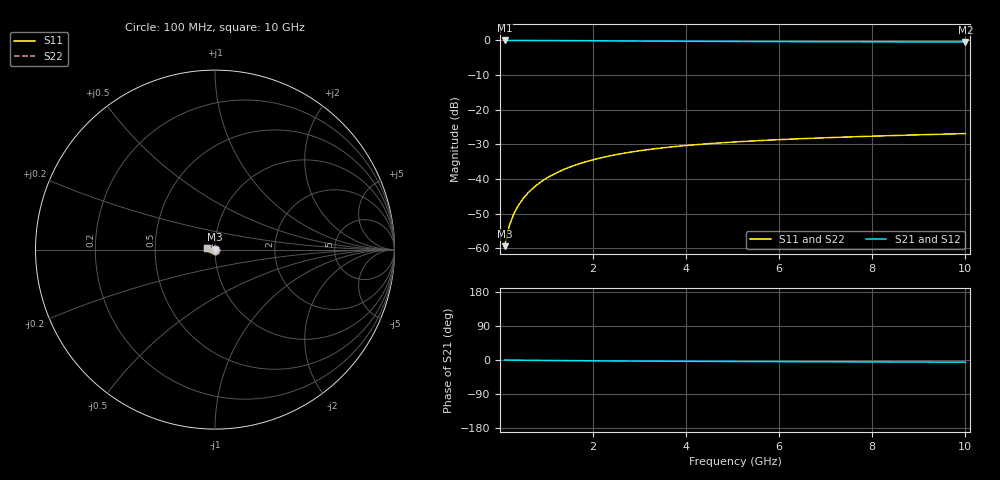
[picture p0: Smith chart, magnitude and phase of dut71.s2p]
! Touchstone file exported from HFSS 2024.1.0
!  File:  C:/UserFiles/LocalFiles/RDL_TSV_Batchsim/temp_TSV1_71_1779374097.aedt
!  Generated:  10:40:11 PM May 21, 2026
!  Design:  TSV1
!  Project:  temp_TSV1_71_1779374097
!  Setup:  Setup1
!  Solution:  Sweep
! Variables:
!  dtsv = 7.92um
!  hbump = 3um
!  htsv = 90.2um
!  lrdl = 252.1521522um
!  p = 40
!  p1 = 46.64um
!  t = 500um
!  trdl = 3um
!  wrdl = 24.89489489um
# GHz S MA R 50.000000
! Terminal data exported
! Port[1] = TSV22_T1
! Port[2] = TSV22_T2
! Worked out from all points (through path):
!   100 points, 100 MHz to 10 GHz, reference 50 ohm
!   highest |S21| = 0.00 dB at 100 MHz (marker M1); lowest = -0.4 dB at 10 GHz (marker M2)
!   lowest |S11| = -59.4 dB at 100 MHz (marker M3), VSWR 1.00, Z = 50 - j0.105 ohm
!   |S11| at or under -10 dB: start of sweep to end of sweep
!   |S22| runs from -59.4 to -26.9 dB; largest |S21 - S12| = 3.7e-15
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0.1  0.001074 -78.4  0.9997 -0.1  0.9997 -0.1  0.001074 -78.4
! Gamma 0 0 0 0
! Port Impedance 50 0 50 0
0.2  0.002115 -86.6  0.9996 -0.2  0.9996 -0.2  0.002115 -86.6
0.3  0.003164 -90.6  0.9994 -0.4  0.9994 -0.4  0.003164 -90.6
0.4  0.004208 -93.6  0.9992 -0.5  0.9992 -0.5  0.004208 -93.6
0.5  0.005246 -96.1  0.9989 -0.6  0.9989 -0.6  0.005246 -96.1
0.6  0.006274 -98.3  0.9985 -0.7  0.9985 -0.7  0.006274 -98.3
0.7  0.007291 -100.4  0.9981 -0.8  0.9981 -0.8  0.007291 -100.4
0.8  0.008295 -102.4  0.9976 -1.0  0.9976 -1.0  0.008295 -102.4
0.9  0.009285 -104.3  0.9971 -1.1  0.9971 -1.1  0.009285 -104.3
1.1  0.01122 -108.0  0.9959 -1.3  0.9959 -1.3  0.01122 -108.0
1.4  0.01398 -113.3  0.9939 -1.6  0.9939 -1.6  0.01398 -113.3
1.6  0.01572 -116.6  0.9923 -1.8  0.9923 -1.8  0.01572 -116.6
1.8  0.01738 -119.8  0.9907 -2.0  0.9907 -2.0  0.01738 -119.8
2.1  0.01971 -124.4  0.9882 -2.2  0.9882 -2.2  0.01971 -124.4
2.5  0.02252 -130.2  0.9848 -2.5  0.9848 -2.5  0.02252 -130.2
2.9  0.025 -135.5  0.9815 -2.8  0.9815 -2.8  0.025 -135.5
3.4  0.02771 -141.6  0.9776 -3.1  0.9776 -3.1  0.02771 -141.6
4.2  0.03127 -150.3  0.972 -3.5  0.972 -3.5  0.03127 -150.3
5.1  0.03444 -158.7  0.9669 -3.9  0.9669 -3.9  0.03444 -158.7
6.7  0.03873 -171.0  0.9602 -4.5  0.9602 -4.5  0.03873 -171.0
8.4  0.04231 178.4  0.9554 -5.1  0.9554 -5.1  0.04231 178.4
10  0.04526 170.1  0.9522 -5.7  0.9522 -5.7  0.04526 170.1
